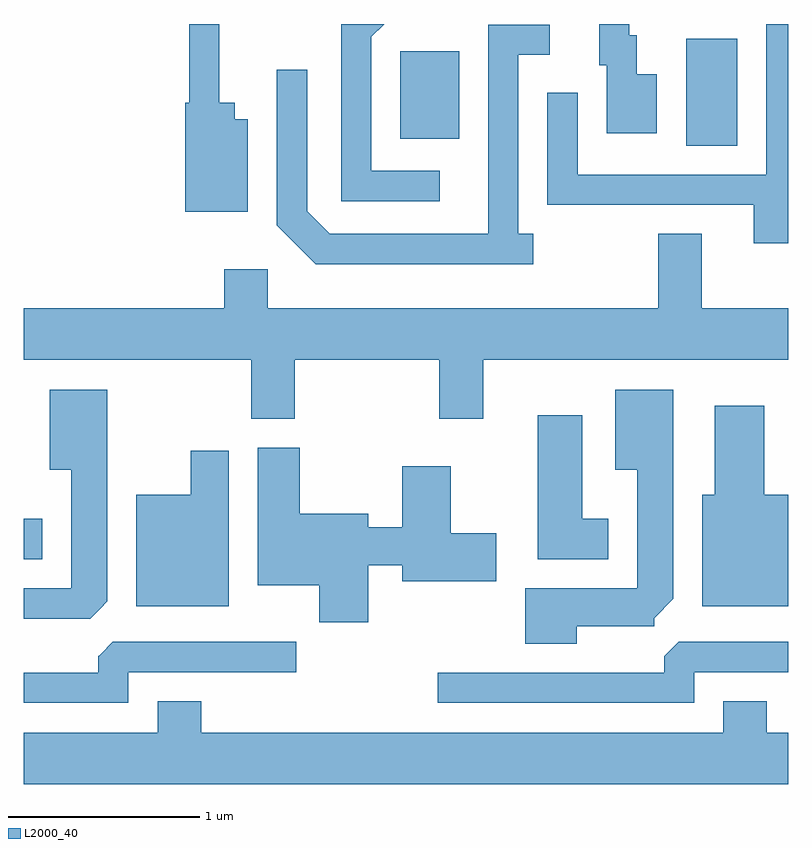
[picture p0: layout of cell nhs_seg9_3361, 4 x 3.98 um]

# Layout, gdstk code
import gdstk
lib = gdstk.Library(unit=1e-6, precision=1e-09)
def R(c, l, rs):  # rectangles x0, y0, x1, y1
    for r in rs: c.add(gdstk.rectangle(r[:2], r[2:], *l))
def P(c, l, *ps):  # polygons
    for p in ps: c.add(gdstk.Polygon(p, *l))
L2000_40 = (2000, 40)

nhs_seg9_3361 = lib.new_cell('nhs_seg9_3361')
R(nhs_seg9_3361, L2000_40, [(283.611,2019.631,283.709,2019.844), (287.076,2021.796,287.344,2022.354), (285.581,2021.831,285.889,2022.289)])
P(nhs_seg9_3361, L2000_40, [(284.784,2021.934),(284.714,2021.934),(284.714,2022.019),(284.634,2022.019),(284.634,2022.432),(284.476,2022.432),(284.476,2022.019),(284.456,2022.019),(284.456,2021.451),(284.784,2021.451)],
  [(287.611,2022.432),(287.496,2022.432),(287.496,2021.644),(286.509,2021.644),(286.509,2022.073),(286.351,2022.073),(286.351,2021.486),(287.431,2021.486),(287.431,2021.286),(287.611,2021.286)],
  [(285.788,2021.664),(285.429,2021.664),(285.429,2022.364),(285.497,2022.432),(285.271,2022.432),(285.271,2021.506),(285.788,2021.506)],
  [(286.924,2022.169),(286.819,2022.169),(286.819,2022.374),(286.779,2022.374),(286.779,2022.432),(286.621,2022.432),(286.621,2022.216),(286.661,2022.216),(286.661,2021.861),(286.924,2021.861)],
  [(286.278,2021.334),(286.199,2021.334),(286.199,2022.271),(286.363,2022.271),(286.363,2022.429),(286.041,2022.429),(286.041,2021.334),(285.212,2021.334),(285.094,2021.452),(285.094,2022.193),(284.936,2022.193),(284.936,2021.379),(285.139,2021.176),(286.278,2021.176)],
  [(285.029,2020.676),(285.786,2020.676),(285.786,2020.366),(286.014,2020.366),(286.014,2020.676),(287.611,2020.676),(287.611,2020.944),(287.159,2020.944),(287.159,2021.334),(286.931,2021.334),(286.931,2020.944),(284.889,2020.944),(284.889,2021.149),(284.661,2021.149),(284.661,2020.944),(283.611,2020.944),(283.611,2020.676),(284.801,2020.676),(284.801,2020.366),(285.029,2020.366)],
  [(286.504,2019.281),(286.909,2019.281),(286.909,2019.324),(287.009,2019.424),(287.009,2020.519),(286.706,2020.519),(286.706,2020.101),(286.821,2020.101),(286.821,2019.479),(286.236,2019.479),(286.236,2019.191),(286.504,2019.191)],
  [(284.013,2019.375),(284.049,2019.412),(284.049,2020.519),(283.746,2020.519),(283.746,2020.101),(283.861,2020.101),(283.861,2019.479),(283.611,2019.479),(283.611,2019.321),(283.959,2019.321)],
  [(287.611,2019.969),(287.484,2019.969),(287.484,2020.434),(287.226,2020.434),(287.226,2019.969),(287.161,2019.969),(287.161,2019.386),(287.611,2019.386)],
  [(286.669,2019.844),(286.534,2019.844),(286.534,2020.384),(286.301,2020.384),(286.301,2019.631),(286.669,2019.631)],
  [(285.414,2019.601),(285.591,2019.601),(285.591,2019.516),(286.084,2019.516),(286.084,2019.769),(285.844,2019.769),(285.844,2020.119),(285.591,2020.119),(285.591,2019.799),(285.414,2019.799),(285.414,2019.869),(285.054,2019.869),(285.054,2020.214),(284.836,2020.214),(284.836,2019.496),(285.156,2019.496),(285.156,2019.301),(285.414,2019.301)],
  [(284.684,2020.199),(284.486,2020.199),(284.486,2019.969),(284.201,2019.969),(284.201,2019.386),(284.684,2019.386)],
  [(284.159,2019.041),(285.038,2019.041),(285.038,2019.199),(284.077,2019.199),(284.013,2019.135),(284.001,2019.124),(284.001,2019.039),(283.611,2019.039),(283.611,2018.881),(284.159,2018.881)],
  [(287.119,2019.041),(287.611,2019.041),(287.611,2019.199),(287.037,2019.199),(286.961,2019.124),(286.961,2019.039),(285.778,2019.039),(285.778,2018.881),(287.119,2018.881)],
  [(287.611,2018.724),(287.499,2018.724),(287.499,2018.889),(287.271,2018.889),(287.271,2018.724),(284.539,2018.724),(284.539,2018.889),(284.311,2018.889),(284.311,2018.724),(283.611,2018.724),(283.611,2018.456),(287.611,2018.456)])

lib.write_gds('nhs_seg9_3361.gds')
